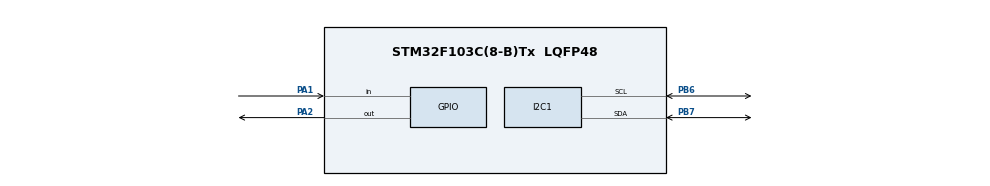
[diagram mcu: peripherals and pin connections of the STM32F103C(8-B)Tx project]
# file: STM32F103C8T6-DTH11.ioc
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Mcu.Family=STM32F1
Mcu.Name=STM32F103C(8-B)Tx
Mcu.Package=LQFP48
NVIC.PriorityGroup=NVIC_PRIORITYGROUP_4
PA1.Signal=GPIO_Input
PA13.Mode=Serial_Wire
PA13.Signal=SYS_JTMS-SWDIO
PA14.Mode=Serial_Wire
PA14.Signal=SYS_JTCK-SWCLK
PA2.Signal=GPIO_Output
PB6.Mode=I2C
PB6.Signal=I2C1_SCL
PB7.Mode=I2C
PB7.Signal=I2C1_SDA
ProjectManager.HeapSize=0x200
ProjectManager.StackSize=0x400
ProjectManager.TargetToolchain=STM32CubeIDE
RCC.APB1Freq_Value=8000000
RCC.APB2Freq_Value=8000000
board=custom

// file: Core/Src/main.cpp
/* USER CODE BEGIN Header */
/**
  ******************************************************************************
  * @file           : main.c
  * @brief          : Main program body
  ******************************************************************************
  * @attention
  *
  * Copyright (c) 2022 STMicroelectronics.
  * All rights reserved.
  *
  * This software is licensed under terms that can be found in the LICENSE file
  * in the root directory of this software component.
  * If no LICENSE file comes with this software, it is provided AS-IS.
  *
  ******************************************************************************
  */
/* USER CODE END Header */
#include "main.h"

/* USER CODE BEGIN Includes */
#include "LCD16x2.h"
#include "stdio.h"
/* USER CODE END Includes */

/* USER CODE BEGIN PTD */
#define msg "Hello World!"
typedef enum
{
	MASTER_WRITE = 0,
	MASTER_READ
}i2c_mode_t;

uint32_t myDHT11value = 0;
uint8_t myBuff[16];
/* USER CODE END PTD */

I2C_HandleTypeDef hi2c1;

void SystemClock_Config(void);
static void MX_GPIO_Init(void);
static void MX_I2C1_Init(void);

/* USER CODE BEGIN 0 */
void delay_us(uint32_t us) /* 20us<time<40us */
{

}
void i2c_write(uint8_t addr, uint8_t data)
{
	HAL_I2C_Master_Transmit(&hi2c1, addr, &data, 1, 10);
}
LCD16x2 lcd(0x27, 16, 2);

uint32_t readDHT11(void)
{
	GPIO_InitTypeDef GPIO_InitStruct = {0};

	uint32_t myData = 0;

	uint16_t rhData = 0, tData = 0;

	GPIO_InitStruct.Pin = GPIO_PIN_2;
	GPIO_InitStruct.Mode = GPIO_MODE_OUTPUT_OD;
	GPIO_InitStruct.Pull = GPIO_NOPULL;
	HAL_GPIO_Init(GPIOA, &GPIO_InitStruct);

	HAL_GPIO_WritePin(GPIOA, GPIO_PIN_2, GPIO_PIN_RESET);
	HAL_Delay(18);
	HAL_GPIO_WritePin(GPIOA, GPIO_PIN_2, GPIO_PIN_SET);
	delay_us(30);

	GPIO_InitStruct.Pin = GPIO_PIN_2;
	GPIO_InitStruct.Mode = GPIO_MODE_INPUT;
	GPIO_InitStruct.Pull = GPIO_PULLUP;
	HAL_GPIO_Init(GPIOA, &GPIO_InitStruct);

	delay_us(160); /* cancel DTH signal  */

	for(uint8_t i=0; i<40; i++)
	{
		if(i<16)/* RH data */
		{
			rhData |= HAL_GPIO_ReadPin(GPIOA, GPIO_PIN_2);
			rhData = rhData<<1;
		}
		else if((i>=16) && (i<32))/* T data */
		{
			tData |= HAL_GPIO_ReadPin(GPIOA, GPIO_PIN_2);
			tData = tData<<1;
		}
		else
		{
			/* read checksum value */
		}
	}
	myData |= rhData; myData<<=16; myData |= tData;
	return myData;

}
/* USER CODE END 0 */

int main(void)
{

  /* MCU Configuration--------------------------------------------------------*/

  /* Reset of all peripherals, Initializes the Flash interface and the Systick. */
  HAL_Init();

  /* Configure the system clock */
  SystemClock_Config();

  /* Initialize all configured peripherals */
  MX_GPIO_Init();
  MX_I2C1_Init();
  /* USER CODE BEGIN 2 */
  lcd.reg_i2c_fnc(i2c_write);
    lcd.begin();
    lcd.backlight();
    lcd.printstr((uint8_t*)msg, sizeof(msg));

  /* USER CODE END 2 */

  /* Infinite loop */
  /* USER CODE BEGIN WHILE */
  while (1)
  {

	  myDHT11value = readDHT11();

	  sprintf((char*)myBuff, "Do am = %d,%d", (uint8_t)(myDHT11value>>24), (uint8_t)(myDHT11value>>16));
	  lcd.setCursor(0, 0);
	  lcd.printstr(myBuff, sizeof(myBuff));

	  sprintf((char*)myBuff, "Nhiet Do = %d,%d", (uint8_t)(myDHT11value>>8), (uint8_t)(myDHT11value));
	  lcd.setCursor(0, 1);
	  lcd.printstr(myBuff, sizeof(myBuff));
    /* USER CODE END WHILE */

  }
}

void SystemClock_Config(void)
{
  RCC_OscInitTypeDef RCC_OscInitStruct = {0};
  RCC_ClkInitTypeDef RCC_ClkInitStruct = {0};

  /** Initializes the RCC Oscillators according to the specified parameters
  * in the RCC_OscInitTypeDef structure.
  */
  RCC_OscInitStruct.OscillatorType = RCC_OSCILLATORTYPE_HSI;
  RCC_OscInitStruct.HSIState = RCC_HSI_ON;
  RCC_OscInitStruct.HSICalibrationValue = RCC_HSICALIBRATION_DEFAULT;
  RCC_OscInitStruct.PLL.PLLState = RCC_PLL_NONE;
  if (HAL_RCC_OscConfig(&RCC_OscInitStruct) != HAL_OK)
  {
    Error_Handler();
  }
  /** Initializes the CPU, AHB and APB buses clocks
  */
  RCC_ClkInitStruct.ClockType = RCC_CLOCKTYPE_HCLK|RCC_CLOCKTYPE_SYSCLK
                              |RCC_CLOCKTYPE_PCLK1|RCC_CLOCKTYPE_PCLK2;
  RCC_ClkInitStruct.SYSCLKSource = RCC_SYSCLKSOURCE_HSI;
  RCC_ClkInitStruct.AHBCLKDivider = RCC_SYSCLK_DIV1;
  RCC_ClkInitStruct.APB1CLKDivider = RCC_HCLK_DIV1;
  RCC_ClkInitStruct.APB2CLKDivider = RCC_HCLK_DIV1;

  if (HAL_RCC_ClockConfig(&RCC_ClkInitStruct, FLASH_LATENCY_0) != HAL_OK)
  {
    Error_Handler();
  }
}

static void MX_I2C1_Init(void)
{

  hi2c1.Instance = I2C1;
  hi2c1.Init.ClockSpeed = 100000;
  hi2c1.Init.DutyCycle = I2C_DUTYCYCLE_2;
  hi2c1.Init.OwnAddress1 = 0;
  hi2c1.Init.AddressingMode = I2C_ADDRESSINGMODE_7BIT;
  hi2c1.Init.DualAddressMode = I2C_DUALADDRESS_DISABLE;
  hi2c1.Init.OwnAddress2 = 0;
  hi2c1.Init.GeneralCallMode = I2C_GENERALCALL_DISABLE;
  hi2c1.Init.NoStretchMode = I2C_NOSTRETCH_DISABLE;
  if (HAL_I2C_Init(&hi2c1) != HAL_OK)
  {
    Error_Handler();
  }

}

static void MX_GPIO_Init(void)
{
  GPIO_InitTypeDef GPIO_InitStruct = {0};

  /* GPIO Ports Clock Enable */
  __HAL_RCC_GPIOA_CLK_ENABLE();
  __HAL_RCC_GPIOB_CLK_ENABLE();

  /*Configure GPIO pin Output Level */
  HAL_GPIO_WritePin(GPIOA, GPIO_PIN_2, GPIO_PIN_SET);

  /*Configure GPIO pin : PA1 */
  GPIO_InitStruct.Pin = GPIO_PIN_1;
  GPIO_InitStruct.Mode = GPIO_MODE_INPUT;
  GPIO_InitStruct.Pull = GPIO_NOPULL;
  HAL_GPIO_Init(GPIOA, &GPIO_InitStruct);

  /*Configure GPIO pin : PA2 */
  GPIO_InitStruct.Pin = GPIO_PIN_2;
  GPIO_InitStruct.Mode = GPIO_MODE_OUTPUT_PP;
  GPIO_InitStruct.Pull = GPIO_NOPULL;
  GPIO_InitStruct.Speed = GPIO_SPEED_FREQ_LOW;
  HAL_GPIO_Init(GPIOA, &GPIO_InitStruct);

}

void Error_Handler(void)
{
  __disable_irq();
  while (1)
  {
  }
}
